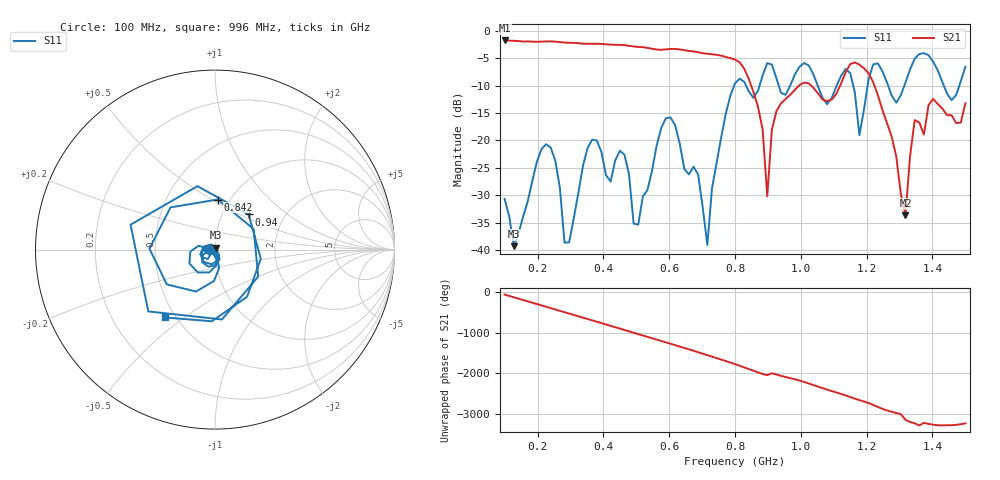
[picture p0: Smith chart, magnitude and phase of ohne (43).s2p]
! NanoVNA-App
! Date: 2025-09-26 09:55:44
! Start: 100MHz Stop: 1,5GHz Points: 101
! S-Parameter data: F S11 S21 S12 S22
# Hz S RI R 50
!  Frequency  S11_Real  S11_Imag  S21_Real  S21_Imag  S12_Real  S12_Imag  S22_Real  S22_Imag
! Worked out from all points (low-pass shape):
!   101 points, 100 MHz to 1.5 GHz, reference 50 ohm
!   highest |S21| = -1.79 dB at 100 MHz (marker M1); lowest = -33.6 dB at 1.318 GHz (marker M2)
!   |S21| within 3 dB of the highest: start of sweep to 771.9 MHz
!   lowest |S11| = -39.2 dB at 128 MHz (marker M3), VSWR 1.02, Z = 50.3 + j1.06 ohm
!   |S11| at or under -10 dB: start of sweep to 797.5 MHz; 833.4 MHz to 874.7 MHz (41.31 MHz wide, 4.84 % of centre); 1.051 GHz to 1.109 GHz (57.84 MHz wide, 5.36 % of centre) (the widest 3 of 7)
!   S12 and S22 are empty: the file has one direction only
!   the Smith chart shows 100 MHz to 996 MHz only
!   S11 on the Smith chart (normalised r, x): 100 MHz: 0.94, -0.01; 842 MHz: 0.88, +0.53; 940 MHz: 1.33, +0.56; 996 MHz: 0.44, -0.43
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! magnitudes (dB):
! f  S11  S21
! 100 MHz  -30.6  -1.8
! 128 MHz  -39.2  -1.9
! 212 MHz  -21.6  -2.0
! 282 MHz  -38.6  -2.2
! 338 MHz  -24.7  -2.4
! 464 MHz  -22.6  -2.6
! 506 MHz  -35.3  -3.0
! 576 MHz  -17.7  -3.5
! 716 MHz  -39.0  -4.2
! 800 MHz  -9.6  -5.3
! 842 MHz  -11.1  -8.8
! 898 MHz  -5.9  -30.2
! 940 MHz  -11.3  -13.2
! 996 MHz  -6.6  -9.9
! 1.038 GHz  -7.9  -10.4
! 1.15 GHz  -7.7  -6.1
! 1.178 GHz  -19.0  -6.2
! 1.22 GHz  -6.1  -9.4
! 1.276 GHz  -11.8  -19.3
! 1.318 GHz  -9.5  -33.6
! 1.346 GHz  -5.1  -16.3
! 1.5 GHz  -6.6  -13.2
